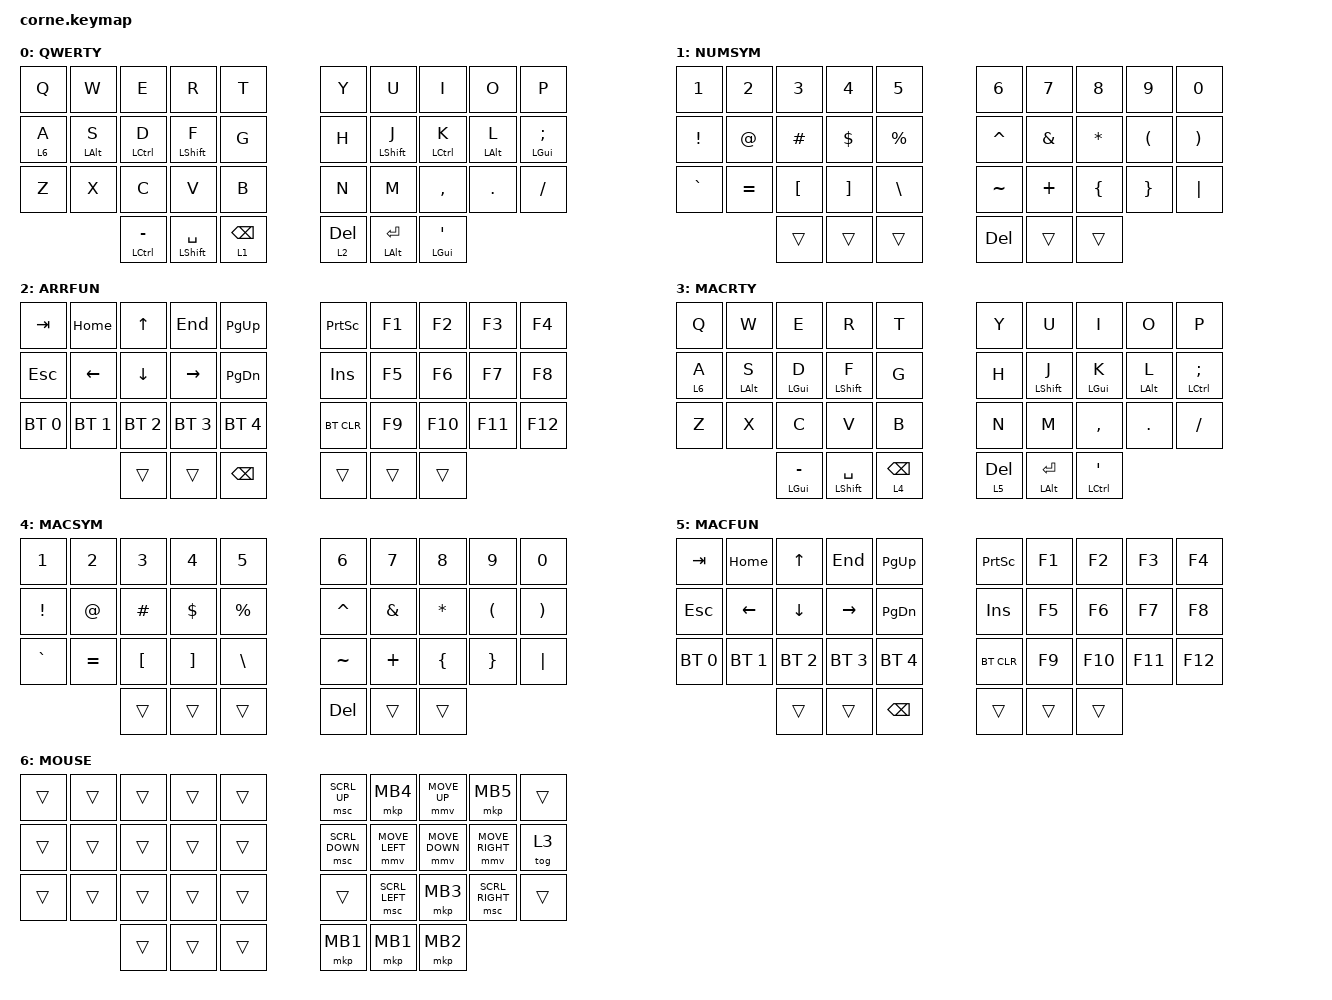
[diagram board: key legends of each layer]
/*
 * Copyright (c) 2020 The ZMK Contributors
 *
 * SPDX-License-Identifier: MIT
 */

#include <behaviors.dtsi>
#include <dt-bindings/zmk/bt.h>
#include <dt-bindings/zmk/keys.h>
#include <dt-bindings/zmk/pointing.h>

#define DEFAULT_L 0

/ {
    chosen { zmk,matrix_transform = &five_column_transform; };

    behaviors {
        hml: hml {
            compatible = "zmk,behavior-hold-tap";
            label = "HML";
            bindings = <&kp>, <&kp>;

            #binding-cells = <2>;
            tapping-term-ms = <250>;
            quick-tap-ms = <150>;
            require-prior-idle-ms = <125>;
            flavor = "balanced";
            hold-trigger-on-release;
            hold-trigger-key-positions = <5 6 7 8 9 15 16 17 18 19 25 26 27 28 29 33 34 35>;
        };

        hmr: hmr {
            compatible = "zmk,behavior-hold-tap";
            label = "HMR";
            bindings = <&kp>, <&kp>;

            #binding-cells = <2>;
            tapping-term-ms = <250>;
            quick-tap-ms = <150>;
            require-prior-idle-ms = <125>;
            flavor = "balanced";
            hold-trigger-key-positions = <0 1 2 3 4 10 11 12 13 14 20 21 22 23 24 30 31 32>;
            hold-trigger-on-release;
        };

        spc: spc {
            compatible = "zmk,behavior-hold-tap";
            label = "SPC";
            bindings = <&kp>, <&kp>;

            #binding-cells = <2>;
            tapping-term-ms = <250>;
            quick-tap-ms = <150>;
            require-prior-idle-ms = <125>;
            flavor = "tap-preferred";
            hold-trigger-on-release;
        };
    };

    macros {
        aacute: aacute {
            compatible = "zmk,behavior-macro";
            label = "AACUTE";
            #binding-cells = <0>;
            bindings = <&none &kp A>;
        };

        eacute: eacute {
            compatible = "zmk,behavior-macro";
            label = "EACUTE";
            #binding-cells = <0>;
            bindings = <&none &kp E>;
        };

        iacute: iacute {
            compatible = "zmk,behavior-macro";
            label = "IACUTE";
            #binding-cells = <0>;
            bindings = <&none &kp I>;
        };

        oacute: oacute {
            compatible = "zmk,behavior-macro";
            label = "OACUTE";
            #binding-cells = <0>;
            bindings = <&none &kp O>;
        };

        uacute: uacute {
            compatible = "zmk,behavior-macro";
            label = "UACUTE";
            #binding-cells = <0>;
            bindings = <&none &kp U>;
        };

        acirc: acirc {
            compatible = "zmk,behavior-macro";
            label = "ACIRC";
            #binding-cells = <0>;
            bindings = <&none &kp A>;
        };

        ecirc: ecirc {
            compatible = "zmk,behavior-macro";
            label = "ECIRC";
            #binding-cells = <0>;
            bindings = <&none &kp E>;
        };

        icirc: icirc {
            compatible = "zmk,behavior-macro";
            label = "ICIRC";
            #binding-cells = <0>;
            bindings = <&none &kp I>;
        };

        ocirc: ocirc {
            compatible = "zmk,behavior-macro";
            label = "OCIRC";
            #binding-cells = <0>;
            bindings = <&none &kp O>;
        };

        ucirc: ucirc {
            compatible = "zmk,behavior-macro";
            label = "UCIRC";
            #binding-cells = <0>;
            bindings = <&none &kp U>;
        };

        atilde: atilde {
            compatible = "zmk,behavior-macro";
            label = "ATILDE";
            #binding-cells = <0>;
            bindings = <&none &kp A>;
        };

        otilde: otilde {
            compatible = "zmk,behavior-macro";
            label = "OTILDE";
            #binding-cells = <0>;
            bindings = <&none &kp O>;
        };

        ao: ao {
            compatible = "zmk,behavior-macro";
            label = "AO";
            #binding-cells = <0>;
            bindings = <&none &kp A &kp O>;
        };

        oes: oes {
            compatible = "zmk,behavior-macro";
            label = "OES";
            #binding-cells = <0>;
            bindings = <&none &kp O &kp E &kp S>;
        };

        vim_word: vim_word {
            compatible = "zmk,behavior-macro";
            label = "VIM_WORD";
            #binding-cells = <0>;
            bindings = <&kp LA(RIGHT) &kp LA(RIGHT) &kp LA(LEFT)>;
        };

        previous_line_enter: previous_line_enter {
            compatible = "zmk,behavior-macro";
            label = "PREVIOUS_LINE_ENTER";
            #binding-cells = <0>;
            bindings = <&kp LG(LEFT) &kp LS(ENTER) &kp LEFT>;
        };

        vim_I: vim_I {
            compatible = "zmk,behavior-macro";
            label = "VIM_I";
            #binding-cells = <0>;
            bindings = <&kp LG(LEFT_ARROW) &to 0>;
        };

        aes: aes {
            compatible = "zmk,behavior-macro";
            label = "AES";
            #binding-cells = <0>;
            bindings = <&none &kp A &kp E &kp S>;
        };

        esc_0: esc_0 {
            compatible = "zmk,behavior-macro";
            label = "ESC_0";
            #binding-cells = <0>;
            bindings = <&to 0 &kp ESCAPE>;
        };

        next_line_enter: next_line_enter {
            compatible = "zmk,behavior-macro";
            label = "NEXT_LINE_ENTER";
            #binding-cells = <0>;
            bindings = <&kp LG(RIGHT) &kp ENTER>;
        };

        thic_arrow: thic_arrow {
            compatible = "zmk,behavior-macro";
            #binding-cells = <0>;
            bindings = <&kp EQUAL &kp GT>;
            label = "THIC_ARROW";
        };

        thin_arrow: thin_arrow {
            compatible = "zmk,behavior-macro";
            #binding-cells = <0>;
            bindings = <&kp MINUS &kp GT>;
            label = "THIN_ARROW";
        };

        agrave: agrave {
            compatible = "zmk,behavior-macro";
            #binding-cells = <0>;
            bindings = <&none &kp A>;
            label = "AGRAVE";
        };

        gte: gte {
            compatible = "zmk,behavior-macro";
            #binding-cells = <0>;
            bindings = <&kp GT &kp EQUAL>;
            label = "GTE";
        };

        lte: lte {
            compatible = "zmk,behavior-macro";
            #binding-cells = <0>;
            bindings = <&kp LT &kp EQUAL>;
            label = "LTE";
        };
    };

    combos {
        compatible = "zmk,combos";

        RESET {
            bindings = <&esc_0>;
            key-positions = <12 17>;
        };

        toggle_shift {
            bindings = <&caps_word>;
            key-positions = <16 13>;
        };

        RESET_w {
            bindings = <&esc_0>;
            key-positions = <14 15>;
        };
    };

    keymap {
        compatible = "zmk,keymap";

        QWERTY {
            bindings = <
  &kp Q    &kp W            &kp E                   &kp R                  &kp T              &kp Y         &kp U               &kp I                &kp O            &kp P
  &lt 6 A  &hml LEFT_ALT S  &hml LEFT_CONTROL D     &hml LEFT_SHIFT F      &kp G              &kp H         &hmr LEFT_SHIFT J   &hmr LEFT_CONTROL K  &hmr LEFT_ALT L  &hmr LEFT_GUI SEMICOLON
  &kp Z    &kp X            &kp C                   &kp V                  &kp B              &kp N         &kp M               &kp COMMA            &kp DOT          &kp FSLH
                            &mt LEFT_CONTROL MINUS  &spc LEFT_SHIFT SPACE  &lt 1 BACKSPACE    &lt 2 DELETE  &mt LEFT_ALT ENTER  &mt LEFT_GUI SQT
            >;
        };

        NUMSYM {
            bindings = <
  &kp N1     &kp N2     &kp N3    &kp N4    &kp N5       &kp N6     &kp N7    &kp N8    &kp N9    &kp N0
  &kp EXCL   &kp AT     &kp HASH  &kp DLLR  &kp PRCNT    &kp CARET  &kp AMPS  &kp STAR  &kp LPAR  &kp RPAR
  &kp GRAVE  &kp EQUAL  &kp LBKT  &kp RBKT  &kp BSLH     &kp TILDE  &kp PLUS  &kp LBRC  &kp RBRC  &kp PIPE
                        &trans    &trans    &trans       &kp DEL    &trans    &trans
            >;
        };

        ARRFUN {
            bindings = <
  &kp TAB       &kp HOME      &kp UP        &kp END       &kp PG_UP        &kp PSCRN   &kp F1  &kp F2   &kp F3   &kp F4
  &kp ESC       &kp LEFT      &kp DOWN      &kp RIGHT     &kp PG_DN        &kp INS     &kp F5  &kp F6   &kp F7   &kp F8
  &bt BT_SEL 0  &bt BT_SEL 1  &bt BT_SEL 2  &bt BT_SEL 3  &bt BT_SEL 4     &bt BT_CLR  &kp F9  &kp F10  &kp F11  &kp F12
                              &trans        &trans        &kp BACKSPACE    &trans      &trans  &trans
            >;
        };

        MACRTY {
            bindings = <
  &kp Q    &kp W            &kp E               &kp R                  &kp T              &kp Y         &kp U               &kp I                 &kp O            &kp P
  &lt 6 A  &hml LEFT_ALT S  &hml LEFT_GUI D     &hml LEFT_SHIFT F      &kp G              &kp H         &hmr LEFT_SHIFT J   &hmr LEFT_GUI K       &hmr LEFT_ALT L  &hmr LEFT_CONTROL SEMICOLON
  &kp Z    &kp X            &kp C               &kp V                  &kp B              &kp N         &kp M               &kp COMMA             &kp DOT          &kp FSLH
                            &mt LEFT_GUI MINUS  &spc LEFT_SHIFT SPACE  &lt 4 BACKSPACE    &lt 5 DELETE  &mt LEFT_ALT ENTER  &mt LEFT_CONTROL SQT
            >;
        };

        MACSYM {
            bindings = <
  &kp N1     &kp N2     &kp N3    &kp N4    &kp N5       &kp N6     &kp N7    &kp N8    &kp N9    &kp N0
  &kp EXCL   &kp AT     &kp HASH  &kp DLLR  &kp PRCNT    &kp CARET  &kp AMPS  &kp STAR  &kp LPAR  &kp RPAR
  &kp GRAVE  &kp EQUAL  &kp LBKT  &kp RBKT  &kp BSLH     &kp TILDE  &kp PLUS  &kp LBRC  &kp RBRC  &kp PIPE
                        &trans    &trans    &trans       &kp DEL    &trans    &trans
            >;
        };

        MACFUN {
            bindings = <
  &kp TAB       &kp HOME      &kp UP        &kp END       &kp PG_UP        &kp PSCRN   &kp F1  &kp F2   &kp F3   &kp F4
  &kp ESC       &kp LEFT      &kp DOWN      &kp RIGHT     &kp PG_DN        &kp INS     &kp F5  &kp F6   &kp F7   &kp F8
  &bt BT_SEL 0  &bt BT_SEL 1  &bt BT_SEL 2  &bt BT_SEL 3  &bt BT_SEL 4     &bt BT_CLR  &kp F9  &kp F10  &kp F11  &kp F12
                              &trans        &trans        &kp BACKSPACE    &trans      &trans  &trans
            >;
        };

        MOUSE {
            bindings = <
  &trans  &trans  &trans  &trans  &trans    &msc SCRL_UP    &mkp MB4        &mmv MOVE_UP    &mkp MB5         &trans
  &trans  &trans  &trans  &trans  &trans    &msc SCRL_DOWN  &mmv MOVE_LEFT  &mmv MOVE_DOWN  &mmv MOVE_RIGHT  &tog 3
  &trans  &trans  &trans  &trans  &trans    &trans          &msc SCRL_LEFT  &mkp MB3        &msc SCRL_RIGHT  &trans
                  &trans  &trans  &trans    &mkp MB1        &mkp MB1        &mkp MB2
            >;
        };
    };
};
